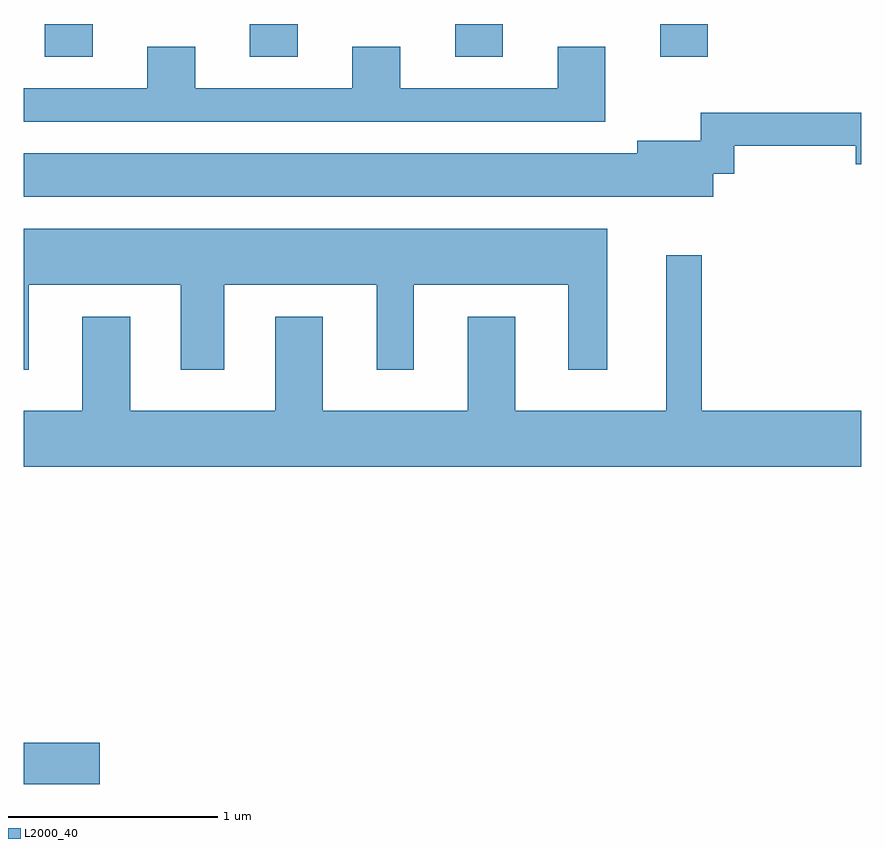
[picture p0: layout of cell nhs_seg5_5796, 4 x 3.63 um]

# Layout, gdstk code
import gdstk
lib = gdstk.Library(unit=1e-6, precision=1e-09)
def R(c, l, rs):  # rectangles x0, y0, x1, y1
    for r in rs: c.add(gdstk.rectangle(r[:2], r[2:], *l))
def A(c, l, x, y, w, h, nx, ny, dx, dy):  # array of equal rectangles
    R(c, l, [(x+i*dx, y+j*dy, x+i*dx+w, y+j*dy+h) for i in range(nx) for j in range(ny)])
def P(c, l, *ps):  # polygons
    for p in ps: c.add(gdstk.Polygon(p, *l))
L2000_40 = (2000, 40)

nhs_seg5_5796 = lib.new_cell('nhs_seg5_5796')
A(nhs_seg5_5796, L2000_40, 357.711, 1409.916, 0.228, 0.156, 4, 1, 0.98, 0)
R(nhs_seg5_5796, L2000_40, [(357.611,1406.441,357.974,1406.639)])
P(nhs_seg5_5796, L2000_40, [(360.389,1409.964),(360.161,1409.964),(360.161,1409.764),(359.409,1409.764),(359.409,1409.964),(359.181,1409.964),(359.181,1409.764),(358.429,1409.764),(358.429,1409.964),(358.201,1409.964),(358.201,1409.764),(357.611,1409.764),(357.611,1409.606),(360.389,1409.606)],
  [(360.904,1409.356),(361.004,1409.356),(361.004,1409.491),(361.586,1409.491),(361.586,1409.401),(361.611,1409.401),(361.611,1409.649),(360.846,1409.649),(360.846,1409.514),(360.541,1409.514),(360.541,1409.454),(357.611,1409.454),(357.611,1409.246),(360.904,1409.246)],
  [(357.634,1408.826),(358.361,1408.826),(358.361,1408.421),(358.569,1408.421),(358.569,1408.826),(359.296,1408.826),(359.296,1408.421),(359.474,1408.421),(359.474,1408.826),(360.211,1408.826),(360.211,1408.421),(360.399,1408.421),(360.399,1409.094),(357.611,1409.094),(357.611,1408.421),(357.634,1408.421)],
  [(361.611,1408.224),(360.849,1408.224),(360.849,1408.968),(360.681,1408.968),(360.681,1408.224),(359.959,1408.224),(359.959,1408.674),(359.731,1408.674),(359.731,1408.224),(359.039,1408.224),(359.039,1408.674),(358.811,1408.674),(358.811,1408.224),(358.119,1408.224),(358.119,1408.674),(357.891,1408.674),(357.891,1408.224),(357.611,1408.224),(357.611,1407.956),(361.611,1407.956)])

lib.write_gds('nhs_seg5_5796.gds')
